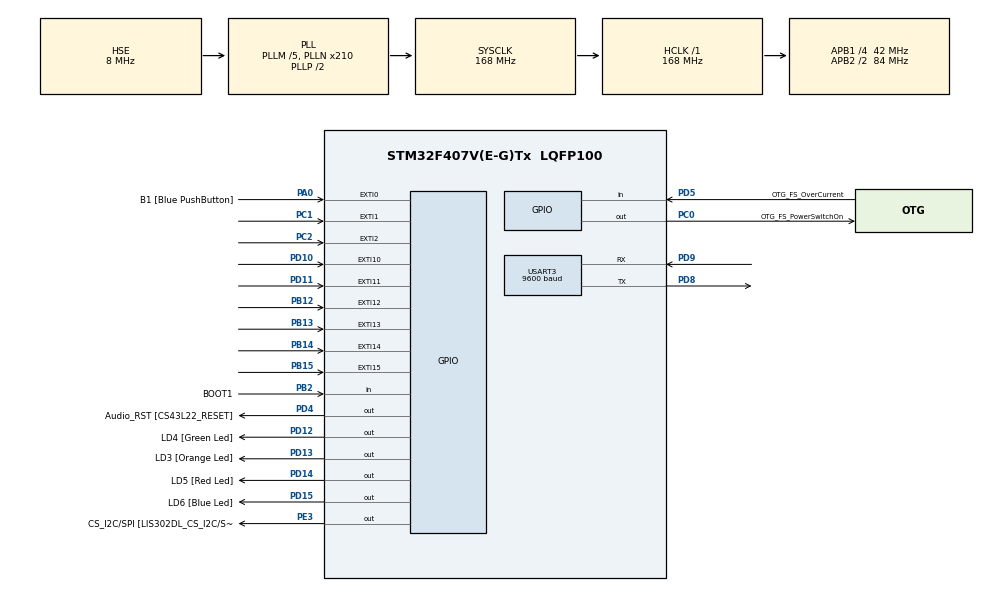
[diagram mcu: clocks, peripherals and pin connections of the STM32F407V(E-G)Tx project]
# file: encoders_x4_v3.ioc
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Mcu.Family=STM32F4
Mcu.Name=STM32F407V(E-G)Tx
Mcu.Package=LQFP100
NVIC.EXTI0_IRQn=true\:0\:0\:false\:false\:true\:true\:true\:true
NVIC.EXTI15_10_IRQn=true\:0\:0\:false\:false\:true\:true\:true\:true
NVIC.EXTI1_IRQn=true\:0\:0\:false\:false\:true\:true\:true\:true
NVIC.EXTI2_IRQn=true\:0\:0\:false\:false\:true\:true\:true\:true
NVIC.PriorityGroup=NVIC_PRIORITYGROUP_0
NVIC.TIM3_IRQn=true\:0\:0\:false\:false\:true\:true\:true\:true
PA0-WKUP.GPIO_Label=B1 [Blue PushButton]
PA0-WKUP.Signal=GPXTI0
PA10.GPIO_Label=OTG_FS_ID
PA10.GPIO_Mode=GPIO_MODE_AF_PP
PA10.GPIO_PuPd=GPIO_NOPULL
PA10.GPIO_Speed=GPIO_SPEED_FREQ_LOW
PA10.Signal=USB_OTG_FS_ID
PA11.GPIO_Label=OTG_FS_DM
PA11.GPIO_Mode=GPIO_MODE_AF_PP
PA11.GPIO_PuPd=GPIO_NOPULL
PA11.GPIO_Speed=GPIO_SPEED_FREQ_LOW
PA11.Signal=USB_OTG_FS_DM
PA12.GPIO_Label=OTG_FS_DP
PA12.GPIO_Mode=GPIO_MODE_AF_PP
PA12.GPIO_PuPd=GPIO_NOPULL
PA12.GPIO_Speed=GPIO_SPEED_FREQ_LOW
PA12.Signal=USB_OTG_FS_DP
PA13.GPIO_Label=SWDIO
PA13.Signal=SYS_JTMS-SWDIO
PA14.GPIO_Label=SWCLK
PA14.Signal=SYS_JTCK-SWCLK
PA4.GPIO_Label=I2S3_WS [CS43L22_LRCK]
PA4.GPIO_Mode=GPIO_MODE_AF_PP
PA4.GPIO_PuPd=GPIO_NOPULL
PA4.GPIO_Speed=GPIO_SPEED_FREQ_LOW
PA4.Signal=I2S3_WS
PA5.GPIO_Label=SPI1_SCK [LIS302DL_SCL/SPC]
PA5.GPIO_Mode=GPIO_MODE_AF_PP
PA5.GPIO_PuPd=GPIO_NOPULL
PA5.GPIO_Speed=GPIO_SPEED_FREQ_LOW
PA5.Signal=SPI1_SCK
PA6.GPIO_Label=SPI1_MISO [LIS302DL_SDO]
PA6.GPIO_Mode=GPIO_MODE_AF_PP
PA6.GPIO_PuPd=GPIO_NOPULL
PA6.GPIO_Speed=GPIO_SPEED_FREQ_LOW
PA6.Signal=SPI1_MISO
PA7.GPIO_Label=SPI1_MOSI [LIS302DL_SDA/SDI/SDO]
PA7.GPIO_Mode=GPIO_MODE_AF_PP
PA7.GPIO_PuPd=GPIO_NOPULL
PA7.GPIO_Speed=GPIO_SPEED_FREQ_LOW
PA7.Signal=SPI1_MOSI
PA9.GPIO_Label=VBUS_FS
PA9.GPIO_Mode=GPIO_MODE_INPUT
PA9.GPIO_PuPd=GPIO_NOPULL
PA9.Signal=USB_OTG_FS_VBUS
PB12.Signal=GPXTI12
PB13.Signal=GPXTI13
PB14.Signal=GPXTI14
PB15.Signal=GPXTI15
PB2.GPIO_Label=BOOT1
PB2.GPIO_Mode=GPIO_MODE_INPUT
PB2.GPIO_PuPd=GPIO_NOPULL
PB2.Signal=GPIO_Input
PB3.GPIO_Label=SWO
PB3.Signal=SYS_JTDO-SWO
PB6.GPIO_Label=Audio_SCL [CS43L22_SCL]
PB6.GPIO_Mode=GPIO_MODE_AF_OD
PB6.GPIO_PuPd=GPIO_NOPULL
PB6.GPIO_Speed=GPIO_SPEED_FREQ_LOW
PB6.Signal=I2C1_SCL
PB9.GPIO_Label=Audio_SDA [CS43L22_SDA]
PB9.GPIO_Mode=GPIO_MODE_AF_OD
PB9.GPIO_PuPd=GPIO_NOPULL
PB9.GPIO_Speed=GPIO_SPEED_FREQ_LOW
PB9.Signal=I2C1_SDA
PC0.GPIO_Label=OTG_FS_PowerSwitchOn
PC0.GPIO_PuPd=GPIO_NOPULL
PC0.GPIO_Speed=GPIO_SPEED_FREQ_LOW
PC0.PinState=GPIO_PIN_SET
PC0.Signal=GPIO_Output
PC1.Signal=GPXTI1
PC14-OSC32_IN.GPIO_Label=PC14-OSC32_IN
PC14-OSC32_IN.Signal=RCC_OSC32_IN
PC15-OSC32_OUT.GPIO_Label=PC15-OSC32_OUT
PC15-OSC32_OUT.Signal=RCC_OSC32_OUT
PC2.Signal=GPXTI2
PC3.GPIO_Label=PDM_OUT [MP45DT02_DOUT]
PC3.GPIO_Mode=GPIO_MODE_AF_PP
PC3.GPIO_PuPd=GPIO_NOPULL
PC3.GPIO_Speed=GPIO_SPEED_FREQ_LOW
PC3.Signal=I2S2_SD
PC7.GPIO_Label=I2S3_MCK [CS43L22_MCLK]
PC7.GPIO_Mode=GPIO_MODE_AF_PP
PC7.GPIO_PuPd=GPIO_NOPULL
PC7.GPIO_Speed=GPIO_SPEED_FREQ_LOW
PC7.Signal=I2S3_MCK
PD10.Signal=GPXTI10
PD11.Signal=GPXTI11
PD12.GPIO_Label=LD4 [Green Led]
PD12.GPIO_PuPd=GPIO_NOPULL
PD12.GPIO_Speed=GPIO_SPEED_FREQ_LOW
PD12.Signal=GPIO_Output
PD13.GPIO_Label=LD3 [Orange Led]
PD13.GPIO_PuPd=GPIO_NOPULL
PD13.GPIO_Speed=GPIO_SPEED_FREQ_LOW
PD13.Signal=GPIO_Output
PD14.GPIO_Label=LD5 [Red Led]
PD14.GPIO_PuPd=GPIO_NOPULL
PD14.GPIO_Speed=GPIO_SPEED_FREQ_LOW
PD14.Signal=GPIO_Output
PD15.GPIO_Label=LD6 [Blue Led]
PD15.GPIO_PuPd=GPIO_NOPULL
PD15.GPIO_Speed=GPIO_SPEED_FREQ_LOW
PD15.Signal=GPIO_Output
PD4.GPIO_Label=Audio_RST [CS43L22_RESET]
PD4.GPIO_PuPd=GPIO_NOPULL
PD4.GPIO_Speed=GPIO_SPEED_FREQ_LOW
PD4.Signal=GPIO_Output
PD5.GPIO_Label=OTG_FS_OverCurrent
PD5.GPIO_Mode=GPIO_MODE_INPUT
PD5.GPIO_PuPd=GPIO_NOPULL
PD5.Signal=GPIO_Input
PD8.Mode=Asynchronous
PD8.Signal=USART3_TX
PD9.Mode=Asynchronous
PD9.Signal=USART3_RX
PE3.GPIO_Label=CS_I2C/SPI [LIS302DL_CS_I2C/SPI]
PE3.GPIO_PuPd=GPIO_NOPULL
PE3.GPIO_Speed=GPIO_SPEED_FREQ_LOW
PE3.Signal=GPIO_Output
PH0-OSC_IN.GPIO_Label=PH0-OSC_IN
PH0-OSC_IN.Mode=HSE-External-Oscillator
PH0-OSC_IN.Signal=RCC_OSC_IN
PH1-OSC_OUT.GPIO_Label=PH1-OSC_OUT
PH1-OSC_OUT.Mode=HSE-External-Oscillator
PH1-OSC_OUT.Signal=RCC_OSC_OUT
ProjectManager.HeapSize=0x200
ProjectManager.StackSize=0x400
ProjectManager.TargetToolchain=STM32CubeIDE
RCC.48MHZClocksFreq_Value=48000000
RCC.AHBFreq_Value=168000000
RCC.APB1CLKDivider=RCC_HCLK_DIV4
RCC.APB1Freq_Value=42000000
RCC.APB1TimFreq_Value=84000000
RCC.APB2CLKDivider=RCC_HCLK_DIV2
RCC.APB2Freq_Value=84000000
RCC.APB2TimFreq_Value=168000000
RCC.CortexFreq_Value=168000000
RCC.HCLKFreq_Value=168000000
RCC.HSE_VALUE=8000000
RCC.HSI_VALUE=16000000
RCC.LSE_VALUE=32768
RCC.PLLM=5
RCC.PLLN=210
RCC.PLLQ=7
RCC.PLLSourceVirtual=RCC_PLLSOURCE_HSE
RCC.SYSCLKFreq_VALUE=168000000
RCC.SYSCLKSource=RCC_SYSCLKSOURCE_PLLCLK
RCC.VCOOutputFreq_Value=336000000
TIM3.AutoReloadPreload=TIM_AUTORELOAD_PRELOAD_ENABLE
TIM3.Period=9999
TIM3.Prescaler=839
USART3.BaudRate=9600
USART3.VirtualMode=VM_ASYNC
VP_TIM3_VS_ClockSourceINT.Mode=Internal
board=STM32F407G-DISC1

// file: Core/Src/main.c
/* USER CODE BEGIN Header */
/**
  ******************************************************************************
  * @file           : main.c
  * @brief          : Main program body
  ******************************************************************************
  * @attention
  *
  * Copyright (c) 2024 STMicroelectronics.
  * All rights reserved.
  *
  * This software is licensed under terms that can be found in the LICENSE file
  * in the root directory of this software component.
  * If no LICENSE file comes with this software, it is provided AS-IS.
  *
  ******************************************************************************
  */
/* USER CODE END Header */
#include "main.h"

/* USER CODE BEGIN Includes */
#include <stdio.h>

/* USER CODE END Includes */

/* USER CODE BEGIN PD */

#define ENCODER_PPR 2000 // Pulsos por revolución del encoder
#define TIMER_INTERVAL  10 // Intervalo del cálculo de velocidad (ms)

/* USER CODE END PD */

TIM_HandleTypeDef htim3;

UART_HandleTypeDef huart3;

/* USER CODE BEGIN PV */

volatile int32_t encoder_count_m1 = 0, encoder_count_m2 = 0, encoder_count_m3 = 0, encoder_count_m4 = 0;
volatile int8_t motor_direction_m1 = 0, motor_direction_m2 = 0, motor_direction_m3 = 0, motor_direction_m4 = 0;
volatile int32_t pulses_in_interval_m1 = 0, pulses_in_interval_m2 = 0, pulses_in_interval_m3 = 0, pulses_in_interval_m4 = 0;
volatile int32_t motor_speed_rpm_m1 = 0, motor_speed_rpm_m2 = 0, motor_speed_rpm_m3 = 0, motor_speed_rpm_m4 = 0;

/* USER CODE END PV */

void SystemClock_Config(void);
static void MX_GPIO_Init(void);
static void MX_TIM3_Init(void);
static void MX_USART3_UART_Init(void);

/* USER CODE BEGIN 0 */

/* ISR para las señales del encoder de los 4 motores */
void HAL_GPIO_EXTI_Callback(uint16_t GPIO_Pin) {
    if (GPIO_Pin == GPIO_PIN_12 || GPIO_Pin == GPIO_PIN_13) {  // Motor 1
        if (HAL_GPIO_ReadPin(GPIOB, GPIO_PIN_12) == HAL_GPIO_ReadPin(GPIOB, GPIO_PIN_13)) {
            encoder_count_m1++;
            pulses_in_interval_m1++;
            motor_direction_m1 = 1;
        } else {
            encoder_count_m1--;
            pulses_in_interval_m1++;
            motor_direction_m1 = -1;
        }
    } else if (GPIO_Pin == GPIO_PIN_14 || GPIO_Pin == GPIO_PIN_15) {  // Motor 2
        if (HAL_GPIO_ReadPin(GPIOB, GPIO_PIN_14) == HAL_GPIO_ReadPin(GPIOB, GPIO_PIN_15)) {
            encoder_count_m2++;
            pulses_in_interval_m2++;
            motor_direction_m2 = 1;
        } else {
            encoder_count_m2--;
            pulses_in_interval_m2++;
            motor_direction_m2 = -1;
        }
    } else if (GPIO_Pin == GPIO_PIN_10 || GPIO_Pin == GPIO_PIN_11) {  // Motor 3
        if (HAL_GPIO_ReadPin(GPIOD, GPIO_PIN_10) == HAL_GPIO_ReadPin(GPIOD, GPIO_PIN_11)) {
            encoder_count_m3++;
            pulses_in_interval_m3++;
            motor_direction_m3 = 1;
        } else {
            encoder_count_m3--;
            pulses_in_interval_m3++;
            motor_direction_m3 = -1;
        }
    } else if (GPIO_Pin == GPIO_PIN_1 || GPIO_Pin == GPIO_PIN_2) {  // Motor 4
        if (HAL_GPIO_ReadPin(GPIOC, GPIO_PIN_1) == HAL_GPIO_ReadPin(GPIOC, GPIO_PIN_2)) {
            encoder_count_m4++;
            pulses_in_interval_m4++;
            motor_direction_m4 = 1;
        } else {
            encoder_count_m4--;
            pulses_in_interval_m4++;
            motor_direction_m4 = -1;
        }
    }
}

/* Temporizador para calcular la velocidad de los 4 motores */
void HAL_TIM_PeriodElapsedCallback(TIM_HandleTypeDef *htim) {
    if (htim->Instance == TIM3) {
        motor_speed_rpm_m1 = (pulses_in_interval_m1 * 60 * 1000) / (ENCODER_PPR * TIMER_INTERVAL);
        motor_speed_rpm_m2 = (pulses_in_interval_m2 * 60 * 1000) / (ENCODER_PPR * TIMER_INTERVAL);
        motor_speed_rpm_m3 = (pulses_in_interval_m3 * 60 * 1000) / (ENCODER_PPR * TIMER_INTERVAL);
        motor_speed_rpm_m4 = (pulses_in_interval_m4 * 60 * 1000) / (ENCODER_PPR * TIMER_INTERVAL);

        if (pulses_in_interval_m1 == 0) motor_speed_rpm_m1 = 0, motor_direction_m1 = 0;
        if (pulses_in_interval_m2 == 0) motor_speed_rpm_m2 = 0, motor_direction_m2 = 0;
        if (pulses_in_interval_m3 == 0) motor_speed_rpm_m3 = 0, motor_direction_m3 = 0;
        if (pulses_in_interval_m4 == 0) motor_speed_rpm_m4 = 0, motor_direction_m4 = 0;

        pulses_in_interval_m1 = pulses_in_interval_m2 = pulses_in_interval_m3 = pulses_in_interval_m4 = 0;
    }
}

/* USER CODE END 0 */

int main(void)
{

  /* MCU Configuration--------------------------------------------------------*/

  /* Reset of all peripherals, Initializes the Flash interface and the Systick. */
  HAL_Init();

  /* Configure the system clock */
  SystemClock_Config();

  /* Initialize all configured peripherals */
  MX_GPIO_Init();
  MX_TIM3_Init();
  MX_USART3_UART_Init();
  /* USER CODE BEGIN 2 */
  HAL_TIM_Base_Start_IT(&htim3);
  __HAL_RCC_GPIOD_CLK_ENABLE();
  char buffer[200];
  /* USER CODE END 2 */

  /* Infinite loop */
  /* USER CODE BEGIN WHILE */
  while (1)
  {
      snprintf(buffer, sizeof(buffer), "M1 Speed: %ld RPM, Direction: %s\n",
               motor_speed_rpm_m3, motor_direction_m3 == 1 ? "CW" : motor_direction_m3 == -1 ? "CCW" : "STOP");
      HAL_UART_Transmit(&huart3, (uint8_t *)buffer, strlen(buffer), 50);
      HAL_Delay(200);

    /* USER CODE END WHILE */

  }
}

void SystemClock_Config(void)
{
  RCC_OscInitTypeDef RCC_OscInitStruct = {0};
  RCC_ClkInitTypeDef RCC_ClkInitStruct = {0};

  /** Configure the main internal regulator output voltage
  */
  __HAL_RCC_PWR_CLK_ENABLE();
  __HAL_PWR_VOLTAGESCALING_CONFIG(PWR_REGULATOR_VOLTAGE_SCALE1);

  /** Initializes the RCC Oscillators according to the specified parameters
  * in the RCC_OscInitTypeDef structure.
  */
  RCC_OscInitStruct.OscillatorType = RCC_OSCILLATORTYPE_HSE;
  RCC_OscInitStruct.HSEState = RCC_HSE_ON;
  RCC_OscInitStruct.PLL.PLLState = RCC_PLL_ON;
  RCC_OscInitStruct.PLL.PLLSource = RCC_PLLSOURCE_HSE;
  RCC_OscInitStruct.PLL.PLLM = 5;
  RCC_OscInitStruct.PLL.PLLN = 210;
  RCC_OscInitStruct.PLL.PLLP = RCC_PLLP_DIV2;
  RCC_OscInitStruct.PLL.PLLQ = 7;
  if (HAL_RCC_OscConfig(&RCC_OscInitStruct) != HAL_OK)
  {
    Error_Handler();
  }

  /** Initializes the CPU, AHB and APB buses clocks
  */
  RCC_ClkInitStruct.ClockType = RCC_CLOCKTYPE_HCLK|RCC_CLOCKTYPE_SYSCLK
                              |RCC_CLOCKTYPE_PCLK1|RCC_CLOCKTYPE_PCLK2;
  RCC_ClkInitStruct.SYSCLKSource = RCC_SYSCLKSOURCE_PLLCLK;
  RCC_ClkInitStruct.AHBCLKDivider = RCC_SYSCLK_DIV1;
  RCC_ClkInitStruct.APB1CLKDivider = RCC_HCLK_DIV4;
  RCC_ClkInitStruct.APB2CLKDivider = RCC_HCLK_DIV2;

  if (HAL_RCC_ClockConfig(&RCC_ClkInitStruct, FLASH_LATENCY_5) != HAL_OK)
  {
    Error_Handler();
  }
}

static void MX_TIM3_Init(void)
{

  TIM_ClockConfigTypeDef sClockSourceConfig = {0};
  TIM_MasterConfigTypeDef sMasterConfig = {0};

  htim3.Instance = TIM3;
  htim3.Init.Prescaler = 839;
  htim3.Init.CounterMode = TIM_COUNTERMODE_UP;
  htim3.Init.Period = 9999;
  htim3.Init.ClockDivision = TIM_CLOCKDIVISION_DIV1;
  htim3.Init.AutoReloadPreload = TIM_AUTORELOAD_PRELOAD_ENABLE;
  if (HAL_TIM_Base_Init(&htim3) != HAL_OK)
  {
    Error_Handler();
  }
  sClockSourceConfig.ClockSource = TIM_CLOCKSOURCE_INTERNAL;
  if (HAL_TIM_ConfigClockSource(&htim3, &sClockSourceConfig) != HAL_OK)
  {
    Error_Handler();
  }
  sMasterConfig.MasterOutputTrigger = TIM_TRGO_RESET;
  sMasterConfig.MasterSlaveMode = TIM_MASTERSLAVEMODE_DISABLE;
  if (HAL_TIMEx_MasterConfigSynchronization(&htim3, &sMasterConfig) != HAL_OK)
  {
    Error_Handler();
  }

}

static void MX_USART3_UART_Init(void)
{

  huart3.Instance = USART3;
  huart3.Init.BaudRate = 9600;
  huart3.Init.WordLength = UART_WORDLENGTH_8B;
  huart3.Init.StopBits = UART_STOPBITS_1;
  huart3.Init.Parity = UART_PARITY_NONE;
  huart3.Init.Mode = UART_MODE_TX_RX;
  huart3.Init.HwFlowCtl = UART_HWCONTROL_NONE;
  huart3.Init.OverSampling = UART_OVERSAMPLING_16;
  if (HAL_UART_Init(&huart3) != HAL_OK)
  {
    Error_Handler();
  }

}

static void MX_GPIO_Init(void)
{
  GPIO_InitTypeDef GPIO_InitStruct = {0};

  /* GPIO Ports Clock Enable */
  __HAL_RCC_GPIOE_CLK_ENABLE();
  __HAL_RCC_GPIOC_CLK_ENABLE();
  __HAL_RCC_GPIOH_CLK_ENABLE();
  __HAL_RCC_GPIOA_CLK_ENABLE();
  __HAL_RCC_GPIOB_CLK_ENABLE();
  __HAL_RCC_GPIOD_CLK_ENABLE();

  /*Configure GPIO pin Output Level */
  HAL_GPIO_WritePin(CS_I2C_SPI_GPIO_Port, CS_I2C_SPI_Pin, GPIO_PIN_RESET);

  /*Configure GPIO pin Output Level */
  HAL_GPIO_WritePin(OTG_FS_PowerSwitchOn_GPIO_Port, OTG_FS_PowerSwitchOn_Pin, GPIO_PIN_SET);

  /*Configure GPIO pin Output Level */
  HAL_GPIO_WritePin(GPIOD, LD4_Pin|LD3_Pin|LD5_Pin|LD6_Pin
                          |Audio_RST_Pin, GPIO_PIN_RESET);

  /*Configure GPIO pin : CS_I2C_SPI_Pin */
  GPIO_InitStruct.Pin = CS_I2C_SPI_Pin;
  GPIO_InitStruct.Mode = GPIO_MODE_OUTPUT_PP;
  GPIO_InitStruct.Pull = GPIO_NOPULL;
  GPIO_InitStruct.Speed = GPIO_SPEED_FREQ_LOW;
  HAL_GPIO_Init(CS_I2C_SPI_GPIO_Port, &GPIO_InitStruct);

  /*Configure GPIO pin : OTG_FS_PowerSwitchOn_Pin */
  GPIO_InitStruct.Pin = OTG_FS_PowerSwitchOn_Pin;
  GPIO_InitStruct.Mode = GPIO_MODE_OUTPUT_PP;
  GPIO_InitStruct.Pull = GPIO_NOPULL;
  GPIO_InitStruct.Speed = GPIO_SPEED_FREQ_LOW;
  HAL_GPIO_Init(OTG_FS_PowerSwitchOn_GPIO_Port, &GPIO_InitStruct);

  /*Configure GPIO pins : PC1 PC2 */
  GPIO_InitStruct.Pin = GPIO_PIN_1|GPIO_PIN_2;
  GPIO_InitStruct.Mode = GPIO_MODE_IT_RISING;
  GPIO_InitStruct.Pull = GPIO_NOPULL;
  HAL_GPIO_Init(GPIOC, &GPIO_InitStruct);

  /*Configure GPIO pin : PDM_OUT_Pin */
  GPIO_InitStruct.Pin = PDM_OUT_Pin;
  GPIO_InitStruct.Mode = GPIO_MODE_AF_PP;
  GPIO_InitStruct.Pull = GPIO_NOPULL;
  GPIO_InitStruct.Speed = GPIO_SPEED_FREQ_LOW;
  GPIO_InitStruct.Alternate = GPIO_AF5_SPI2;
  HAL_GPIO_Init(PDM_OUT_GPIO_Port, &GPIO_InitStruct);

  /*Configure GPIO pin : B1_Pin */
  GPIO_InitStruct.Pin = B1_Pin;
  GPIO_InitStruct.Mode = GPIO_MODE_IT_RISING;
  GPIO_InitStruct.Pull = GPIO_NOPULL;
  HAL_GPIO_Init(B1_GPIO_Port, &GPIO_InitStruct);

  /*Configure GPIO pin : I2S3_WS_Pin */
  GPIO_InitStruct.Pin = I2S3_WS_Pin;
  GPIO_InitStruct.Mode = GPIO_MODE_AF_PP;
  GPIO_InitStruct.Pull = GPIO_NOPULL;
  GPIO_InitStruct.Speed = GPIO_SPEED_FREQ_LOW;
  GPIO_InitStruct.Alternate = GPIO_AF6_SPI3;
  HAL_GPIO_Init(I2S3_WS_GPIO_Port, &GPIO_InitStruct);

  /*Configure GPIO pins : SPI1_SCK_Pin SPI1_MISO_Pin SPI1_MOSI_Pin */
  GPIO_InitStruct.Pin = SPI1_SCK_Pin|SPI1_MISO_Pin|SPI1_MOSI_Pin;
  GPIO_InitStruct.Mode = GPIO_MODE_AF_PP;
  GPIO_InitStruct.Pull = GPIO_NOPULL;
  GPIO_InitStruct.Speed = GPIO_SPEED_FREQ_LOW;
  GPIO_InitStruct.Alternate = GPIO_AF5_SPI1;
  HAL_GPIO_Init(GPIOA, &GPIO_InitStruct);

  /*Configure GPIO pin : BOOT1_Pin */
  GPIO_InitStruct.Pin = BOOT1_Pin;
  GPIO_InitStruct.Mode = GPIO_MODE_INPUT;
  GPIO_InitStruct.Pull = GPIO_NOPULL;
  HAL_GPIO_Init(BOOT1_GPIO_Port, &GPIO_InitStruct);

  /*Configure GPIO pins : PB12 PB13 PB14 PB15 */
  GPIO_InitStruct.Pin = GPIO_PIN_12|GPIO_PIN_13|GPIO_PIN_14|GPIO_PIN_15;
  GPIO_InitStruct.Mode = GPIO_MODE_IT_RISING;
  GPIO_InitStruct.Pull = GPIO_NOPULL;
  HAL_GPIO_Init(GPIOB, &GPIO_InitStruct);

  /*Configure GPIO pins : PD10 PD11 */
  GPIO_InitStruct.Pin = GPIO_PIN_10|GPIO_PIN_11;
  GPIO_InitStruct.Mode = GPIO_MODE_IT_RISING;
  GPIO_InitStruct.Pull = GPIO_NOPULL;
  HAL_GPIO_Init(GPIOD, &GPIO_InitStruct);

  /*Configure GPIO pins : LD4_Pin LD3_Pin LD5_Pin LD6_Pin
                           Audio_RST_Pin */
  GPIO_InitStruct.Pin = LD4_Pin|LD3_Pin|LD5_Pin|LD6_Pin
                          |Audio_RST_Pin;
  GPIO_InitStruct.Mode = GPIO_MODE_OUTPUT_PP;
  GPIO_InitStruct.Pull = GPIO_NOPULL;
  GPIO_InitStruct.Speed = GPIO_SPEED_FREQ_LOW;
  HAL_GPIO_Init(GPIOD, &GPIO_InitStruct);

  /*Configure GPIO pin : I2S3_MCK_Pin */
  GPIO_InitStruct.Pin = I2S3_MCK_Pin;
  GPIO_InitStruct.Mode = GPIO_MODE_AF_PP;
  GPIO_InitStruct.Pull = GPIO_NOPULL;
  GPIO_InitStruct.Speed = GPIO_SPEED_FREQ_LOW;
  GPIO_InitStruct.Alternate = GPIO_AF6_SPI3;
  HAL_GPIO_Init(I2S3_MCK_GPIO_Port, &GPIO_InitStruct);

  /*Configure GPIO pin : VBUS_FS_Pin */
  GPIO_InitStruct.Pin = VBUS_FS_Pin;
  GPIO_InitStruct.Mode = GPIO_MODE_INPUT;
  GPIO_InitStruct.Pull = GPIO_NOPULL;
  HAL_GPIO_Init(VBUS_FS_GPIO_Port, &GPIO_InitStruct);

  /*Configure GPIO pins : OTG_FS_ID_Pin OTG_FS_DM_Pin OTG_FS_DP_Pin */
  GPIO_InitStruct.Pin = OTG_FS_ID_Pin|OTG_FS_DM_Pin|OTG_FS_DP_Pin;
  GPIO_InitStruct.Mode = GPIO_MODE_AF_PP;
  GPIO_InitStruct.Pull = GPIO_NOPULL;
  GPIO_InitStruct.Speed = GPIO_SPEED_FREQ_LOW;
  GPIO_InitStruct.Alternate = GPIO_AF10_OTG_FS;
  HAL_GPIO_Init(GPIOA, &GPIO_InitStruct);

  /*Configure GPIO pin : OTG_FS_OverCurrent_Pin */
  GPIO_InitStruct.Pin = OTG_FS_OverCurrent_Pin;
  GPIO_InitStruct.Mode = GPIO_MODE_INPUT;
  GPIO_InitStruct.Pull = GPIO_NOPULL;
  HAL_GPIO_Init(OTG_FS_OverCurrent_GPIO_Port, &GPIO_InitStruct);

  /*Configure GPIO pins : Audio_SCL_Pin Audio_SDA_Pin */
  GPIO_InitStruct.Pin = Audio_SCL_Pin|Audio_SDA_Pin;
  GPIO_InitStruct.Mode = GPIO_MODE_AF_OD;
  GPIO_InitStruct.Pull = GPIO_NOPULL;
  GPIO_InitStruct.Speed = GPIO_SPEED_FREQ_LOW;
  GPIO_InitStruct.Alternate = GPIO_AF4_I2C1;
  HAL_GPIO_Init(GPIOB, &GPIO_InitStruct);

  /* EXTI interrupt init*/
  HAL_NVIC_SetPriority(EXTI0_IRQn, 0, 0);
  HAL_NVIC_EnableIRQ(EXTI0_IRQn);

  HAL_NVIC_SetPriority(EXTI1_IRQn, 0, 0);
  HAL_NVIC_EnableIRQ(EXTI1_IRQn);

  HAL_NVIC_SetPriority(EXTI2_IRQn, 0, 0);
  HAL_NVIC_EnableIRQ(EXTI2_IRQn);

  HAL_NVIC_SetPriority(EXTI15_10_IRQn, 0, 0);
  HAL_NVIC_EnableIRQ(EXTI15_10_IRQn);

}

void Error_Handler(void)
{
  __disable_irq();
  while (1)
  {
  }
}
